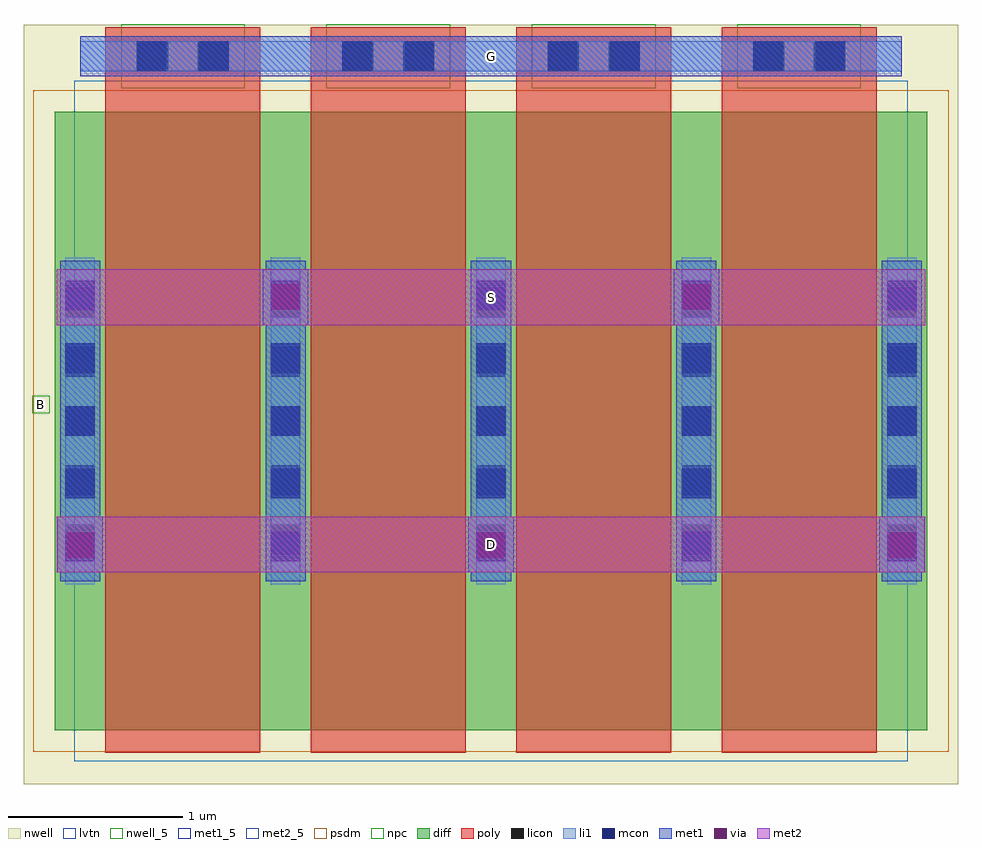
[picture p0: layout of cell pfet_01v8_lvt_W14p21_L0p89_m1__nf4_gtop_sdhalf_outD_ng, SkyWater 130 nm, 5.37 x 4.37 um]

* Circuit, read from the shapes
.subckt pfet_01v8_lvt_W14p21_L0p89_m1__nf4_gtop_sdhalf_outD_ng B D G S
XM1 S G D B sky130_fd_pr__pfet_01v8_lvt w=3.55 l=0.89 m=4
.ends

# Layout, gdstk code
import gdstk
lib = gdstk.Library(unit=1e-6, precision=1e-09)
def R(c, l, rs):  # rectangles x0, y0, x1, y1
    for r in rs: c.add(gdstk.rectangle(r[:2], r[2:], *l))
def A(c, l, x, y, w, h, nx, ny, dx, dy):  # array of equal rectangles
    R(c, l, [(x+i*dx, y+j*dy, x+i*dx+w, y+j*dy+h) for i in range(nx) for j in range(ny)])
nwell_5 = (64, 5)
nwell = (64, 20)
diff = (65, 20)
poly = (66, 20)
licon = (66, 44)
li1 = (67, 20)
mcon = (67, 44)
met1_5 = (68, 5)
met1 = (68, 20)
via = (68, 44)
met2_5 = (69, 5)
met2 = (69, 20)
psdm = (94, 20)
npc = (95, 20)
lvtn = (125, 44)

sky130_fd_pr__pfet_01v8_ = lib.new_cell('sky130_fd_pr__pfet_01v8_lvt_HDCV9P')
R(sky130_fd_pr__pfet_01v8_, nwell, [(-2.685,-2.265,2.685,2.095)])
R(sky130_fd_pr__pfet_01v8_, diff, [(-2.505,-1.955,2.505,1.595)])
A(sky130_fd_pr__pfet_01v8_, poly, -2.215, -2.085, 0.89, 4.165, 4, 1, 1.18, 0)
A(sky130_fd_pr__pfet_01v8_, licon, -2.445, -0.945, 0.17, 0.17, 5, 5, 1.18, 0.34)
R(sky130_fd_pr__pfet_01v8_, licon, [(-2.025,1.83,-1.855,2), (-1.685,1.83,-1.515,2), (-0.845,1.83,-0.675,2), (-0.505,1.83,-0.335,2), (0.335,1.83,0.505,2), (0.675,1.83,0.845,2), (1.515,1.83,1.685,2), (1.855,1.83,2.025,2)])
A(sky130_fd_pr__pfet_01v8_, li1, -2.445, -1.12, 0.17, 1.88, 5, 1, 1.18, 0)
R(sky130_fd_pr__pfet_01v8_, li1, [(-2.36,1.83,2.36,2)])
A(sky130_fd_pr__pfet_01v8_, mcon, -2.445, -0.985, 0.17, 0.17, 5, 5, 1.18, 0.36)
R(sky130_fd_pr__pfet_01v8_, mcon, [(-2.035,1.83,-1.865,2), (-1.675,1.83,-1.505,2), (-0.855,1.83,-0.685,2), (-0.495,1.83,-0.325,2), (0.325,1.83,0.495,2), (0.685,1.83,0.855,2), (1.505,1.83,1.675,2), (1.865,1.83,2.035,2)])
A(sky130_fd_pr__pfet_01v8_, met1, -2.475, -1.1, 0.23, 1.84, 5, 1, 1.18, 0)
A(sky130_fd_pr__pfet_01v8_, met1, -2.195, 1.8, 0.85, 0.03, 4, 2, 1.18, 0.2)
R(sky130_fd_pr__pfet_01v8_, met1, [(-2.36,1.83,2.36,2)])
R(sky130_fd_pr__pfet_01v8_, psdm, [(-2.63,-2.08,2.63,1.72)])
A(sky130_fd_pr__pfet_01v8_, npc, -2.125, 1.73, 0.71, 0.37, 4, 1, 1.18, 0)
R(sky130_fd_pr__pfet_01v8_, lvtn, [(-2.395,-2.135,2.395,1.775)])
sky130_fd_pr__pfet_01v8_.add(gdstk.Label('D0', (-2.36,-0.18), layer=67, texttype=5))
sky130_fd_pr__pfet_01v8_.add(gdstk.Label('G', (1.77,1.915), layer=67, texttype=5))
sky130_fd_pr__pfet_01v8_.add(gdstk.Label('G', (0.59,1.915), layer=67, texttype=5))
sky130_fd_pr__pfet_01v8_.add(gdstk.Label('G', (-0.59,1.915), layer=67, texttype=5))
sky130_fd_pr__pfet_01v8_.add(gdstk.Label('G', (-1.77,1.915), layer=67, texttype=5))
sky130_fd_pr__pfet_01v8_.add(gdstk.Label('S1', (-1.18,-0.18), layer=67, texttype=5))
sky130_fd_pr__pfet_01v8_.add(gdstk.Label('D2', (0,-0.18), layer=67, texttype=5))
sky130_fd_pr__pfet_01v8_.add(gdstk.Label('S3', (1.18,-0.18), layer=67, texttype=5))

pfet_01v8_lvt_w14p21_l0p = lib.new_cell('pfet_01v8_lvt_W14p21_L0p89_m1__nf4_gtop_sdhalf_outD_ng')
R(pfet_01v8_lvt_w14p21_l0p, nwell_5, [(0.05,2.13,0.15,2.23)])
R(pfet_01v8_lvt_w14p21_l0p, nwell, [(0.05,2.13,0.15,2.23)])
R(pfet_01v8_lvt_w14p21_l0p, met1_5, [(0.325,4.065,5.045,4.295)])
A(pfet_01v8_lvt_w14p21_l0p, met1, 0.195, 1.215, 0.26, 0.32, 3, 1, 2.36, 0)
R(pfet_01v8_lvt_w14p21_l0p, met1, [(1.375,2.635,1.635,2.955), (3.735,2.635,3.995,2.955), (0.325,4.065,5.045,4.295)])
A(pfet_01v8_lvt_w14p21_l0p, via, 0.25, 1.3, 0.15, 0.15, 3, 1, 2.36, 0)
R(pfet_01v8_lvt_w14p21_l0p, via, [(1.43,2.72,1.58,2.87), (3.79,2.72,3.94,2.87)])
R(pfet_01v8_lvt_w14p21_l0p, met2_5, [(0.19,1.215,5.18,1.535), (0.19,2.635,5.18,2.955)])
R(pfet_01v8_lvt_w14p21_l0p, met2, [(0.19,1.215,5.18,1.535), (0.19,2.635,5.18,2.955)])
pfet_01v8_lvt_w14p21_l0p.add(gdstk.Reference(sky130_fd_pr__pfet_01v8_, (2.685,2.265)))
pfet_01v8_lvt_w14p21_l0p.add(gdstk.Label('S', (2.685,2.795), layer=69, texttype=5))
pfet_01v8_lvt_w14p21_l0p.add(gdstk.Label('D', (2.685,1.375), layer=69, texttype=5))
pfet_01v8_lvt_w14p21_l0p.add(gdstk.Label('G', (2.685,4.18), layer=68, texttype=5))
pfet_01v8_lvt_w14p21_l0p.add(gdstk.Label('B', (0.1,2.18), layer=64, texttype=5))

lib.write_gds('pfet_01v8_lvt_W14p21_L0p89_m1__nf4_gtop_sdhalf_outD_ng.gds')
